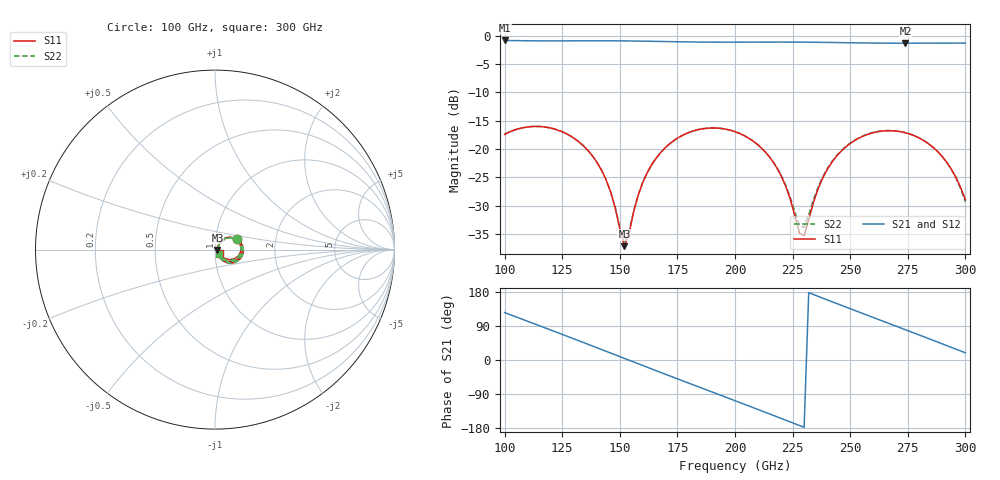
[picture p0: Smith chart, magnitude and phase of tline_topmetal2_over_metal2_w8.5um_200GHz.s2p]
#  GHZ S DB R 50
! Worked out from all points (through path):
!   101 points, 100 GHz to 300 GHz, reference 50 ohm
!   highest |S21| = -0.86 dB at 100 GHz (marker M1); lowest = -1.3 dB at 274 GHz (marker M2)
!   group delay of S21, straight-line fit = 6.48 ps
!   lowest |S11| = -37.2 dB at 152 GHz (marker M3), VSWR 1.03, Z = 51.4 - j0.173 ohm
!   |S11| at or under -10 dB: start of sweep to end of sweep
!   |S22| runs from -36.6 to -16.0 dB; largest |S21 - S12| = 1e-13
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100  -17.43 25.6  -0.86 125.3  -0.86 125.3  -17.42 25.4
116  -16.06 -7.6  -0.93 88.4  -0.93 88.4  -16.06 -7.7
134  -19.37 -44.0  -0.92 46.6  -0.92 46.6  -19.36 -43.9
144  -25.41 -58.6  -0.92 23.1  -0.92 23.1  -25.39 -57.9
152  -37.16 -7.0  -0.94 4.2  -0.94 4.2  -36.61 -6.4
160  -25.89 55.0  -0.98 -14.6  -0.98 -14.6  -25.83 53.9
168  -20.52 44.8  -1.04 -33.4  -1.04 -33.4  -20.50 44.1
184  -16.60 13.5  -1.14 -70.5  -1.14 -70.5  -16.59 13.2
200  -16.95 -19.2  -1.17 -107.4  -1.17 -107.4  -16.94 -19.1
210  -19.30 -38.6  -1.15 -130.6  -1.15 -130.6  -19.28 -38.0
218  -23.23 -51.0  -1.14 -149.4  -1.14 -149.4  -23.16 -49.5
224  -28.89 -50.8  -1.15 -163.5  -1.15 -163.5  -28.58 -47.2
228  -34.87 -21.3  -1.15 -173.0  -1.15 -173.0  -33.57 -17.9
230  -35.32 15.1  -1.16 -177.7  -1.16 -177.7  -33.82 12.3
234  -29.51 50.4  -1.18 172.9  -1.18 172.9  -29.00 45.1
240  -23.65 52.2  -1.21 158.8  -1.21 158.8  -23.49 48.6
248  -19.68 40.3  -1.26 140.0  -1.26 140.0  -19.60 37.5
258  -17.36 21.3  -1.31 116.8  -1.31 116.8  -17.32 18.9
268  -16.79 1.5  -1.34 93.7  -1.34 93.7  -16.76 -0.9
274  -17.15 -10.4  -1.34 79.8  -1.34 79.8  -17.13 -12.9
290  -21.36 -38.4  -1.32 42.5  -1.32 42.5  -21.38 -41.9
300  -28.95 -36.6  -1.32 18.9  -1.32 18.9  -29.37 -43.1
